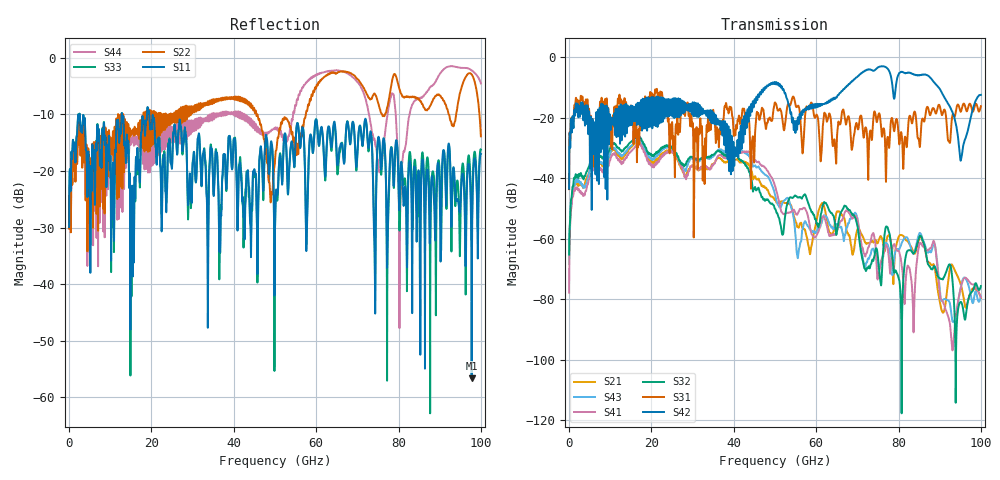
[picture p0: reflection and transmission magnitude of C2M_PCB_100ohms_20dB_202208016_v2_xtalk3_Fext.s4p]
! Info: Touchstone file created by Circ.  Input file=Intel_C2M_200G_7p0in_202208016_staggered.circ
# Hz S RI R 50
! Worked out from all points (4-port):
!   10000 points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, 10 MHz to 100 GHz, reference 50 ohm
!   strongest paths, dB at 10 MHz, 25.01 GHz, 50.01 GHz, 75.01 GHz, 100 GHz:
!     S42: -43.5, -15.6, -8.5, -3.4, -12.5
!     S31: -43.7, -21.5, -15.0, -19.6, -16.2
!     S32: -65.3, -30.2, -50.2, -66.3, -75.7
!     S41: -77.9, -31.3, -42.5, -72.8, -79.3
!     S43: -68.4, -30.4, -45.5, -69.4, -79.0
!     S21: -61.4, -31.4, -47.3, -61.3, -79.7
!   lowest |S11| = -56.6 dB at 97.76 GHz (marker M1), VSWR 1.00, Z = 50.1 - j0.0534 ohm
!   |S11| at or under -10 dB: 2.573 GHz to 12.75 GHz (10.18 GHz wide, 133 % of centre); 12.86 GHz to 18.92 GHz (6.063 GHz wide, 38.2 % of centre); 19.49 GHz to end of sweep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
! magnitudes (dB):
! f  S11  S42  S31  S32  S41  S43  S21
! 10 MHz  -29.9  -43.5  -43.7  -65.3  -77.9  -68.4  -61.4
! 1.53 GHz  -18.5  -17.8  -15.1  -39.0  -43.3  -41.3  -41.4
! 16.78 GHz  -19.8  -18.7  -27.4  -26.2  -28.6  -27.3  -27.6
! 66.29 GHz  -15.2  -11.2  -18.1  -50.7  -54.0  -57.6  -52.3
! 80.34 GHz  -22.5  -5.2  -27.4  -75.5  -65.3  -62.9  -58.8
! 97.76 GHz  -56.6  -18.7  -17.0  -77.7  -75.1  -80.2  -77.0
! 100 GHz  -16.9  -12.5  -16.2  -75.7  -79.3  -79.0  -79.7
